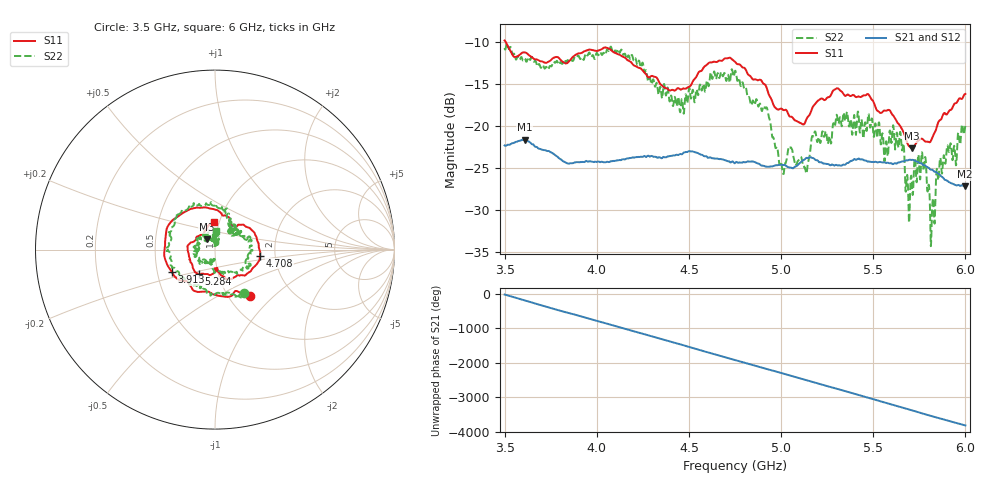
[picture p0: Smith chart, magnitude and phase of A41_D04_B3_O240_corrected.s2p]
! Created with skrf 1.9.0 (http://scikit-rf.org).
# Hz S RI R 50.0
!freq ReS11 ImS11 ReS21 ImS21 ReS12 ImS12 ReS22 ImS22
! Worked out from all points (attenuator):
!   1601 points, 3.5 GHz to 6 GHz, reference 50 ohm
!   highest |S21| = -21.64 dB at 3.609 GHz (marker M1); lowest = -27.2 dB at 5.995 GHz (marker M2)
!   lowest |S11| = -22.6 dB at 5.711 GHz (marker M3), VSWR 1.16, Z = 45.4 + j5.31 ohm
!   |S11| at or under -10 dB: 3.506 GHz to end of sweep
!   |S22| runs from -34.3 to -10.2 dB; largest |S21 - S12| = 0.001
!   S11 on the Smith chart (normalised r, x): 3.5 GHz: 1.26, -0.72; 3.913 GHz: 0.60, -0.16; 4.708 GHz: 1.66, -0.12; 5.284 GHz: 0.81, -0.23; 6 GHz: 0.94, +0.30
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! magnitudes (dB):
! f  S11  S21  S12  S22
! 3.5 GHz  -9.8  -22.3  -22.3  -10.7
! 3.609 GHz  -11.2  -21.6  -21.6  -11.9
! 3.913 GHz  -11.3  -24.3  -24.2  -12.0
! 3.917 GHz  -11.3  -24.3  -24.3  -11.9
! 4.125 GHz  -11.5  -24.0  -24.0  -11.3
! 4.334 GHz  -14.6  -23.7  -23.7  -16.2
! 4.463 GHz  -15.6  -23.4  -23.3  -16.8
! 4.708 GHz  -12.0  -24.2  -24.1  -14.2
! 4.75 GHz  -12.4  -24.4  -24.3  -13.5
! 4.919 GHz  -15.3  -24.8  -24.8  -17.8
! 5.005 GHz  -18.0  -24.6  -24.6  -24.9
! 5.167 GHz  -18.0  -23.8  -23.7  -21.3
! 5.284 GHz  -15.8  -24.7  -24.6  -19.7
! 5.584 GHz  -18.1  -24.4  -24.3  -21.9
! 5.655 GHz  -20.3  -24.2  -24.2  -22.7
! 5.686 GHz  -22.1  -24.1  -24.1  -26.1
! 5.711 GHz  -22.6  -24.0  -23.9  -27.3
! 5.773 GHz  -21.7  -24.6  -24.6  -25.3
! 5.822 GHz  -21.3  -25.2  -25.2  -29.0
! 5.855 GHz  -19.5  -25.7  -25.6  -26.2
! 5.995 GHz  -16.2  -27.2  -27.1  -20.6
! 6 GHz  -16.2  -27.2  -27.1  -19.9
